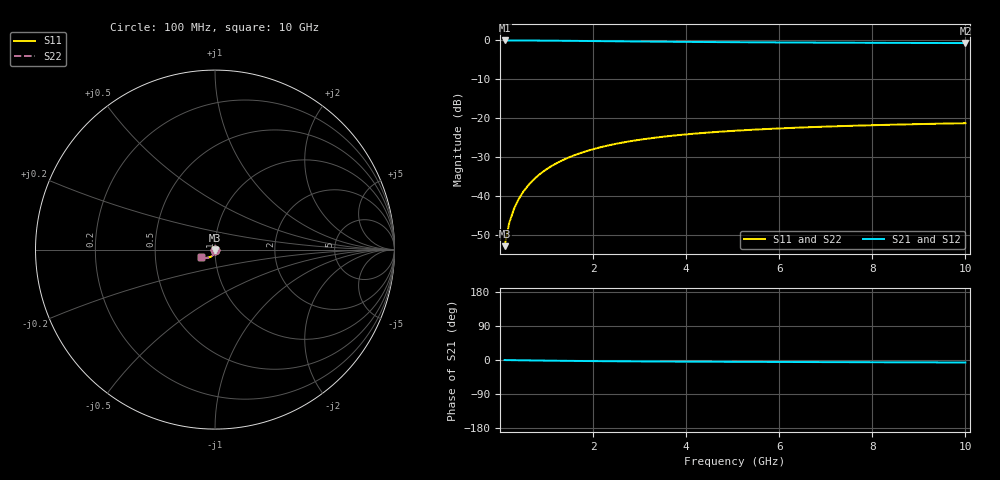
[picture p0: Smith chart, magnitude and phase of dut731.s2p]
! Touchstone file exported from HFSS 2024.1.0
!  File:  C:/UserFiles/LocalFiles/RDL_TSV_Batchsim/temp_TSV1_731_1779869405.aedt
!  Generated:  04:15:11 PM May 27, 2026
!  Design:  TSV1
!  Project:  temp_TSV1_731_1779869405
!  Setup:  Setup1
!  Solution:  Sweep
! Variables:
!  dtsv = 14.05um
!  hbump = 3um
!  htsv = 99.6um
!  lrdl = 252.1521522um
!  p = 40
!  p1 = 42.51um
!  t = 500um
!  trdl = 3um
!  wrdl = 24.89489489um
# GHz S MA R 50.000000
! Terminal data exported
! Port[1] = TSV22_T1
! Port[2] = TSV22_T2
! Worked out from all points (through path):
!   100 points, 100 MHz to 10 GHz, reference 50 ohm
!   highest |S21| = 0.00 dB at 100 MHz (marker M1); lowest = -0.7 dB at 10 GHz (marker M2)
!   lowest |S11| = -52.8 dB at 100 MHz (marker M3), VSWR 1.00, Z = 50 - j0.23 ohm
!   |S11| at or under -10 dB: start of sweep to end of sweep
!   |S22| runs from -52.8 to -21.2 dB; largest |S21 - S12| = 7.6e-15
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0.1  0.002295 -89.0  0.9998 -0.2  0.9998 -0.2  0.002295 -89.0
! Gamma 0 0 0 0
! Port Impedance 50 0 50 0
0.2  0.004592 -91.6  0.9996 -0.3  0.9996 -0.3  0.004592 -91.6
0.3  0.006887 -93.4  0.9993 -0.5  0.9993 -0.5  0.006887 -93.4
0.4  0.009173 -95.1  0.9989 -0.7  0.9989 -0.7  0.009173 -95.1
0.5  0.01144 -96.7  0.9983 -0.9  0.9983 -0.9  0.01144 -96.7
0.6  0.01368 -98.3  0.9977 -1.0  0.9977 -1.0  0.01368 -98.3
0.7  0.01588 -99.8  0.997 -1.2  0.997 -1.2  0.01588 -99.8
0.8  0.01805 -101.4  0.9961 -1.3  0.9961 -1.3  0.01805 -101.4
0.9  0.02018 -102.8  0.9952 -1.5  0.9952 -1.5  0.02018 -102.8
1.1  0.0243 -105.7  0.9932 -1.8  0.9932 -1.8  0.0243 -105.7
1.4  0.0301 -109.7  0.9898 -2.2  0.9898 -2.2  0.0301 -109.7
1.6  0.0337 -112.2  0.9873 -2.4  0.9873 -2.4  0.0337 -112.2
1.8  0.03708 -114.5  0.9847 -2.7  0.9847 -2.7  0.03708 -114.5
2.1  0.04175 -117.8  0.9808 -3.0  0.9808 -3.0  0.04175 -117.8
2.5  0.04727 -121.8  0.9756 -3.3  0.9756 -3.3  0.04727 -121.8
2.9  0.05208 -125.3  0.9706 -3.7  0.9706 -3.7  0.05208 -125.3
3.4  0.05722 -129.0  0.9648 -4.0  0.9648 -4.0  0.05722 -129.0
4.2  0.06389 -134.0  0.9568 -4.4  0.9568 -4.4  0.06389 -134.0
5.1  0.06972 -138.3  0.9492 -4.8  0.9492 -4.8  0.06972 -138.3
6.7  0.0773 -144.0  0.939 -5.4  0.939 -5.4  0.0773 -144.0
8.4  0.08292 -148.3  0.9312 -6.0  0.9312 -6.0  0.08292 -148.3
10  0.08679 -151.3  0.9258 -6.6  0.9258 -6.6  0.08679 -151.3
